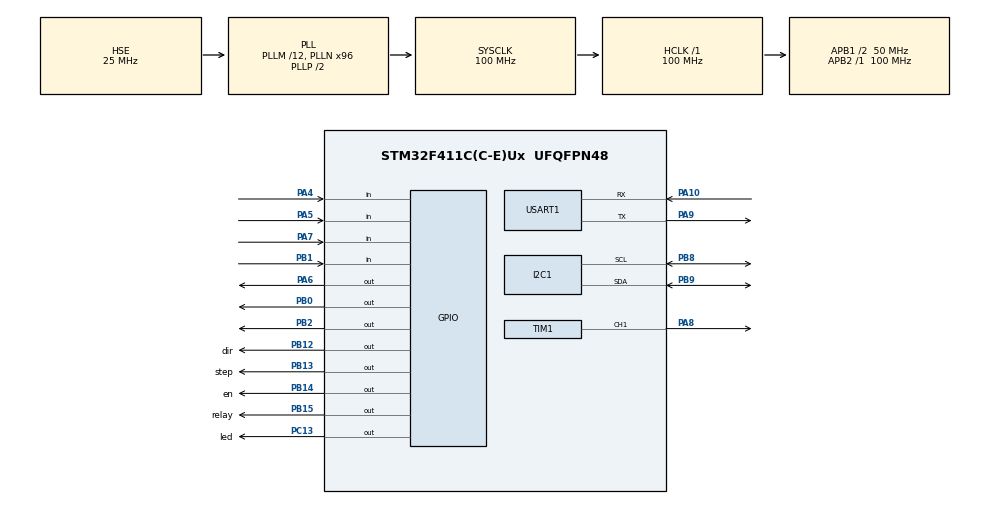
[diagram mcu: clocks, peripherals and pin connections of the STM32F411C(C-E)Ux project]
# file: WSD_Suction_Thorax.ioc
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Dma.Request0=TIM1_CH1
Dma.TIM1_CH1.0.Direction=DMA_MEMORY_TO_PERIPH
Dma.TIM1_CH1.0.FIFOMode=DMA_FIFOMODE_DISABLE
Dma.TIM1_CH1.0.Instance=DMA2_Stream1
Dma.TIM1_CH1.0.MemDataAlignment=DMA_MDATAALIGN_HALFWORD
Dma.TIM1_CH1.0.MemInc=DMA_MINC_ENABLE
Dma.TIM1_CH1.0.Mode=DMA_NORMAL
Dma.TIM1_CH1.0.PeriphDataAlignment=DMA_PDATAALIGN_HALFWORD
Dma.TIM1_CH1.0.PeriphInc=DMA_PINC_DISABLE
Dma.TIM1_CH1.0.Priority=DMA_PRIORITY_LOW
I2C1.I2C_Mode=I2C_Fast
Mcu.Family=STM32F4
Mcu.Name=STM32F411C(C-E)Ux
Mcu.Package=UFQFPN48
NVIC.DMA2_Stream1_IRQn=true\:0\:0\:false\:false\:true\:false\:true\:true
NVIC.PriorityGroup=NVIC_PRIORITYGROUP_4
PA10.Mode=Asynchronous
PA10.Signal=USART1_RX
PA13.Mode=Serial_Wire
PA13.Signal=SYS_JTMS-SWDIO
PA14.Mode=Serial_Wire
PA14.Signal=SYS_JTCK-SWCLK
PA4.GPIO_PuPd=GPIO_PULLUP
PA4.Signal=GPIO_Input
PA5.GPIO_PuPd=GPIO_PULLUP
PA5.Signal=GPIO_Input
PA6.GPIO_PuPd=GPIO_PULLUP
PA6.GPIO_Speed=GPIO_SPEED_FREQ_HIGH
PA6.Signal=GPIO_Output
PA7.GPIO_PuPd=GPIO_PULLUP
PA7.Signal=GPIO_Input
PA8.Signal=S_TIM1_CH1
PA9.Mode=Asynchronous
PA9.Signal=USART1_TX
PB0.GPIO_PuPd=GPIO_PULLUP
PB0.GPIO_Speed=GPIO_SPEED_FREQ_HIGH
PB0.Signal=GPIO_Output
PB1.GPIO_PuPd=GPIO_PULLUP
PB1.Signal=GPIO_Input
PB12.GPIO_Label=dir
PB12.Signal=GPIO_Output
PB13.GPIO_Label=step
PB13.Signal=GPIO_Output
PB14.GPIO_Label=en
PB14.Signal=GPIO_Output
PB15.GPIO_Label=relay
PB15.Signal=GPIO_Output
PB2.GPIO_PuPd=GPIO_PULLUP
PB2.GPIO_Speed=GPIO_SPEED_FREQ_HIGH
PB2.Signal=GPIO_Output
PB8.Mode=I2C
PB8.Signal=I2C1_SCL
PB9.Mode=I2C
PB9.Signal=I2C1_SDA
PC13-ANTI_TAMP.GPIO_Label=led
PC13-ANTI_TAMP.GPIO_ModeDefaultOutputPP=GPIO_MODE_OUTPUT_PP
PC13-ANTI_TAMP.PinState=GPIO_PIN_SET
PC13-ANTI_TAMP.Signal=GPIO_Output
PH0\ -\ OSC_IN.Mode=HSE-External-Oscillator
PH0\ -\ OSC_IN.Signal=RCC_OSC_IN
PH1\ -\ OSC_OUT.Mode=HSE-External-Oscillator
PH1\ -\ OSC_OUT.Signal=RCC_OSC_OUT
ProjectManager.HeapSize=0x200
ProjectManager.StackSize=0x400
ProjectManager.TargetToolchain=STM32CubeIDE
RCC.48MHZClocksFreq_Value=50000000
RCC.AHBFreq_Value=100000000
RCC.APB1CLKDivider=RCC_HCLK_DIV2
RCC.APB1Freq_Value=50000000
RCC.APB1TimFreq_Value=100000000
RCC.APB2Freq_Value=100000000
RCC.APB2TimFreq_Value=100000000
RCC.CortexFreq_Value=100000000
RCC.HCLKFreq_Value=100000000
RCC.HSE_VALUE=25000000
RCC.HSI_VALUE=16000000
RCC.LSE_VALUE=32768
RCC.PLLM=12
RCC.PLLN=96
RCC.PLLSourceVirtual=RCC_PLLSOURCE_HSE
RCC.SYSCLKFreq_VALUE=100000000
RCC.SYSCLKSource=RCC_SYSCLKSOURCE_PLLCLK
RCC.VCOOutputFreq_Value=200000000
SH.S_TIM1_CH1.0=TIM1_CH1,PWM Generation1 CH1
TIM1.Channel-PWM\ Generation1\ CH1=TIM_CHANNEL_1
TIM1.Period=0xffff-1
TIM1.Prescaler=1-1
USART1.VirtualMode=VM_ASYNC
VP_TIM1_VS_ClockSourceINT.Mode=Internal
board=custom

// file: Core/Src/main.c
/* USER CODE BEGIN Header */
/**
  ******************************************************************************
  * @file           : main.c
  * @brief          : Main program body
  ******************************************************************************
  * @attention
  *
  * Copyright (c) 2023 STMicroelectronics.
  * All rights reserved.
  *
  * This software is licensed under terms that can be found in the LICENSE file
  * in the root directory of this software component.
  * If no LICENSE file comes with this software, it is provided AS-IS.
  *
  ******************************************************************************
  */
/* USER CODE END Header */
#include "main.h"

/* USER CODE BEGIN Includes */
#include <String.h>
#include <stdio.h>
#include "ssd1306.h"
#include "ssd1306_tests.h"
/* USER CODE END Includes */

I2C_HandleTypeDef hi2c1;

TIM_HandleTypeDef htim1;
DMA_HandleTypeDef hdma_tim1_ch1;

UART_HandleTypeDef huart1;

/* USER CODE BEGIN PV */
int count;
unsigned char var;
uint16_t readValue;
/* USER CODE END PV */

void SystemClock_Config(void);
static void MX_GPIO_Init(void);
static void MX_DMA_Init(void);
static void MX_I2C1_Init(void);
static void MX_USART1_UART_Init(void);
static void MX_TIM1_Init(void);

/* USER CODE BEGIN 0 */
void delay(uint16_t delay){
	__HAL_TIM_SET_COUNTER(&htim1,0);
	while(__HAL_TIM_GET_COUNTER(&htim1)<delay);
}

unsigned char check_clm(unsigned char pin_var)
{
	unsigned char clm;
	HAL_GPIO_WritePin(GPIOA, GPIO_PIN_6, GPIO_PIN_SET); //GPIO_PIN_SET means that pin setting HIGH/1
	HAL_GPIO_WritePin(GPIOB, GPIO_PIN_0|GPIO_PIN_2, GPIO_PIN_SET); //GPIO_PIN_SET means that pin setting HIGH/1

	HAL_GPIO_WritePin(GPIOB, GPIO_PIN_0, GPIO_PIN_RESET);
	if (HAL_GPIO_ReadPin(GPIOB, pin_var) == 0) clm = 1;

	HAL_GPIO_WritePin(GPIOB, GPIO_PIN_0, GPIO_PIN_SET);
	HAL_GPIO_WritePin(GPIOB, GPIO_PIN_2, GPIO_PIN_RESET);
	if(HAL_GPIO_ReadPin (GPIOB, pin_var) == 0) clm = 2;

	HAL_GPIO_WritePin(GPIOB, GPIO_PIN_2, GPIO_PIN_SET);
	HAL_GPIO_WritePin(GPIOA, GPIO_PIN_6, GPIO_PIN_RESET);
	if(HAL_GPIO_ReadPin(GPIOA, pin_var) == 0) clm = 3;

	HAL_GPIO_WritePin(GPIOA, GPIO_PIN_6, GPIO_PIN_RESET);
	HAL_GPIO_WritePin(GPIOB, GPIO_PIN_0|GPIO_PIN_2, GPIO_PIN_RESET);
	return clm;
}

unsigned char key_press(void) //input row
{
	unsigned char clm_var;
	unsigned char key_arr[13] = {1, 2, 3, 4, 5, 6, 7, 8, 9, 12, 0, 13};

	if (HAL_GPIO_ReadPin(GPIOB, GPIO_PIN_1) == 0)
	{
		clm_var = check_clm(GPIO_PIN_1);
		return key_arr[clm_var - 1];
	}
	else if (HAL_GPIO_ReadPin(GPIOA, GPIO_PIN_4) == 0)
	{
		clm_var = check_clm(GPIO_PIN_4);
		return key_arr[clm_var + 2];
	}
	else if (HAL_GPIO_ReadPin(GPIOA, GPIO_PIN_5) == 0)
	{
		clm_var = check_clm(GPIO_PIN_5);
		return key_arr[clm_var + 5];
	}
	else if (HAL_GPIO_ReadPin(GPIOA, GPIO_PIN_7) == 0)
	{
		clm_var = check_clm(GPIO_PIN_7);
		return key_arr[clm_var + 8];
	}
	else return 15;
}

void cekKeypad(int var1){
	HAL_Delay(100);
	if(var1<15){
		if(var1 == 1){
			ssd1306_Fill(Black);
			ssd1306_SetCursor(2,0);
			ssd1306_WriteString("1", Font_16x24, White);
			ssd1306_UpdateScreen();
		}
		else if(var1 == 2){
			ssd1306_Fill(Black);
			ssd1306_SetCursor(2,0);
			ssd1306_WriteString("2", Font_16x24, White);
			ssd1306_UpdateScreen();
	    }
		else if(var1 == 3){
			ssd1306_Fill(Black);
			ssd1306_SetCursor(2,0);
			ssd1306_WriteString("3", Font_16x24, White);
			ssd1306_UpdateScreen();
	    }
		else if(var1 == 4){
			ssd1306_Fill(Black);
			ssd1306_SetCursor(2,0);
			ssd1306_WriteString("4", Font_16x24, White);
			ssd1306_UpdateScreen();
		}
		else if(var1 == 5){
			ssd1306_Fill(Black);
			ssd1306_SetCursor(2,0);
			ssd1306_WriteString("5", Font_16x24, White);
			ssd1306_UpdateScreen();
		}
		else if(var1 == 6){
			ssd1306_Fill(Black);
			ssd1306_SetCursor(2,0);
			ssd1306_WriteString("6", Font_16x24, White);
			ssd1306_UpdateScreen();
		}
		else if(var1 == 7){
			ssd1306_Fill(Black);
			ssd1306_SetCursor(2,0);
			ssd1306_WriteString("7", Font_16x24, White);
			ssd1306_UpdateScreen();
		}
		else if(var1 == 8){
			ssd1306_Fill(Black);
			ssd1306_SetCursor(2,0);
			ssd1306_WriteString("8", Font_16x24, White);
			ssd1306_UpdateScreen();
		}
		else if(var1 == 9){
			ssd1306_Fill(Black);
			ssd1306_SetCursor(2,0);
			ssd1306_WriteString("9", Font_16x24, White);
			ssd1306_UpdateScreen();
		}
		else if(var1 == 12){
			ssd1306_Fill(Black);
			ssd1306_SetCursor(2,0);
			ssd1306_WriteString("*", Font_16x24, White);
			ssd1306_UpdateScreen();
		}
		else if(var1 == 0){
			ssd1306_Fill(Black);
			ssd1306_SetCursor(2,0);
			ssd1306_WriteString("0", Font_16x24, White);
			ssd1306_UpdateScreen();
		}
		else if(var1 == 13){
			ssd1306_Fill(Black);
			ssd1306_SetCursor(2,0);
			ssd1306_WriteString("#", Font_16x24, White);
			ssd1306_UpdateScreen();
		}
		else{
			HAL_GPIO_WritePin(GPIOC, GPIO_PIN_13, 0);
			ssd1306_SetCursor(2,0);
			ssd1306_Fill(Black);
			ssd1306_UpdateScreen();
		}
	}
}

float mape(float val, float min1, float max1, float min2, float max2){
	return (((max2 - min2) / (max1 - min1)) * (val - min1)) + min2;
}

void gerakStepper(char arah, uint32_t step, uint32_t jeda){
//	uint8_t val = mape(nilai, 0, 20, 0, 30000);
	uint8_t gerak = 0;
	if(arah == 'l') gerak = 0;
	else if(arah == 'r') gerak = 1;
	HAL_GPIO_WritePin(GPIOB, GPIO_PIN_12, gerak);
	for(int i = 0; i < step; i++){
		HAL_GPIO_WritePin(GPIOB, GPIO_PIN_13, 1);
		delay(jeda);
		HAL_GPIO_WritePin(GPIOB, GPIO_PIN_13, 0);
		delay(jeda);
	}
}

const unsigned char wsd_128x64[] = {
		0xff, 0xff, 0xff, 0xff, 0xff, 0xff, 0xff, 0xff, 0xff, 0xff, 0xff, 0xff, 0xff, 0xff, 0xff, 0xff,
		0xff, 0xff, 0xff, 0xff, 0xff, 0xff, 0xff, 0xff, 0xff, 0xff, 0xff, 0xff, 0xff, 0xff, 0xff, 0xff,
		0xff, 0xff, 0xff, 0xff, 0xff, 0xff, 0xff, 0xff, 0xff, 0xff, 0xff, 0xff, 0xff, 0xff, 0xff, 0xff,
		0xff, 0xff, 0xff, 0xff, 0xff, 0xff, 0xff, 0xff, 0xff, 0xff, 0xff, 0xff, 0xff, 0xff, 0xff, 0xff,
		0xff, 0xff, 0xff, 0xff, 0xff, 0xff, 0xff, 0xff, 0xff, 0xff, 0xff, 0xff, 0xff, 0xff, 0xff, 0xff,
		0xff, 0xff, 0xff, 0xff, 0xff, 0xff, 0xff, 0xff, 0xff, 0xff, 0xff, 0xff, 0xff, 0xff, 0xff, 0xff,
		0xff, 0xff, 0xff, 0xff, 0xff, 0xff, 0xff, 0xff, 0xff, 0xff, 0xff, 0xff, 0xff, 0xff, 0xff, 0xff,
		0xff, 0xff, 0xff, 0xff, 0xff, 0xff, 0xff, 0xff, 0xff, 0xff, 0xff, 0xff, 0xff, 0xff, 0xff, 0xff,
		0xff, 0xff, 0xff, 0xff, 0xff, 0xff, 0xff, 0xff, 0xff, 0xff, 0xff, 0xff, 0xff, 0xff, 0xff, 0xff,
		0xff, 0xff, 0xff, 0xff, 0xff, 0xff, 0xff, 0xff, 0xff, 0xff, 0xff, 0xff, 0xff, 0xff, 0xff, 0xff,
		0xff, 0xff, 0xff, 0xff, 0xff, 0xff, 0xff, 0xff, 0xff, 0xff, 0xff, 0xff, 0xff, 0xff, 0xff, 0xff,
		0xff, 0xff, 0xff, 0xff, 0xff, 0xff, 0xff, 0xff, 0xff, 0xff, 0xff, 0xff, 0xff, 0xff, 0xff, 0xff,
		0x00, 0x00, 0x00, 0x00, 0x00, 0x00, 0x00, 0x00, 0x00, 0x00, 0x00, 0x00, 0x00, 0x00, 0x00, 0x00,
		0x00, 0x00, 0x00, 0x00, 0x00, 0x00, 0x00, 0x00, 0x00, 0x00, 0x00, 0x00, 0x00, 0x00, 0x00, 0x00,
		0x00, 0x00, 0x00, 0x00, 0x00, 0x00, 0x00, 0x00, 0x00, 0x00, 0x00, 0x00, 0x00, 0x00, 0x00, 0x00,
		0x00, 0x00, 0x00, 0x00, 0x00, 0x00, 0x00, 0x00, 0x00, 0x00, 0x00, 0x00, 0x00, 0x00, 0x00, 0x00,
		0x00, 0x00, 0x00, 0x00, 0x00, 0x00, 0x00, 0x00, 0x00, 0x00, 0x00, 0x00, 0x00, 0x00, 0x00, 0x00,
		0x00, 0x00, 0x00, 0x00, 0x00, 0x00, 0x00, 0x00, 0x00, 0x00, 0x00, 0x00, 0x00, 0x00, 0x00, 0x00,
		0x00, 0x00, 0x00, 0x00, 0x00, 0x00, 0x00, 0x00, 0x00, 0x00, 0x00, 0x00, 0x00, 0x00, 0x00, 0x00,
		0x00, 0x00, 0x00, 0x00, 0x00, 0x00, 0x00, 0x00, 0x00, 0x00, 0x00, 0x00, 0x00, 0x00, 0x00, 0x00,
		0x00, 0x00, 0x00, 0x00, 0x00, 0x00, 0x00, 0x00, 0x00, 0x00, 0x00, 0x00, 0x00, 0x00, 0x00, 0x00,
		0x00, 0x00, 0x00, 0x00, 0x00, 0x00, 0x00, 0x0c, 0x00, 0x70, 0x00, 0x00, 0x00, 0x00, 0x00, 0x00,
		0x00, 0x38, 0x1c, 0x0e, 0x7f, 0xc6, 0x00, 0x7f, 0x83, 0xfc, 0x0e, 0x00, 0x70, 0xff, 0x80, 0x00,
		0x00, 0x18, 0x1c, 0x0c, 0x7f, 0x86, 0x00, 0xf3, 0x87, 0x9e, 0x0f, 0x00, 0x78, 0xff, 0x80, 0x00,
		0x00, 0x18, 0x1c, 0x0c, 0x60, 0x06, 0x01, 0xc0, 0x8e, 0x07, 0x0f, 0x00, 0xf8, 0xe0, 0x00, 0x00,
		0x00, 0x1c, 0x3e, 0x1c, 0x60, 0x06, 0x01, 0xc0, 0x0c, 0x03, 0x0f, 0x81, 0xf8, 0xe0, 0x00, 0x00,
		0x00, 0x0c, 0x36, 0x18, 0x60, 0x06, 0x03, 0x80, 0x1c, 0x03, 0x8d, 0x81, 0xb8, 0xe0, 0x00, 0x00,
		0x00, 0x0c, 0x36, 0x18, 0x70, 0x06, 0x03, 0x80, 0x1c, 0x03, 0x8d, 0xc1, 0xb8, 0xe0, 0x00, 0x00,
		0x00, 0x0e, 0x77, 0x18, 0x7f, 0x86, 0x03, 0x80, 0x1c, 0x03, 0x8c, 0xc3, 0x38, 0xff, 0x00, 0x00,
		0x00, 0x0e, 0x67, 0x38, 0x7f, 0x86, 0x03, 0x00, 0x1c, 0x03, 0x8c, 0xe3, 0x38, 0xff, 0x00, 0x00,
		0x00, 0x06, 0x63, 0x30, 0x60, 0x06, 0x03, 0x80, 0x1c, 0x03, 0x8c, 0x67, 0x38, 0xe0, 0x00, 0x00,
		0x00, 0x06, 0x63, 0x30, 0x60, 0x06, 0x03, 0x80, 0x1c, 0x03, 0x8c, 0x76, 0x38, 0xe0, 0x00, 0x00,
		0x00, 0x07, 0xe3, 0xf0, 0x60, 0x06, 0x01, 0xc0, 0x1c, 0x03, 0x0c, 0x7e, 0x38, 0xe0, 0x00, 0x00,
		0x00, 0x03, 0xc1, 0xe0, 0x60, 0x06, 0x01, 0xc0, 0x0e, 0x07, 0x0c, 0x3c, 0x38, 0xe0, 0x00, 0x00,
		0x00, 0x03, 0xc1, 0xe0, 0x70, 0x06, 0x00, 0xe1, 0x8f, 0x0e, 0x0c, 0x3c, 0x38, 0xe0, 0x00, 0x00,
		0x00, 0x03, 0xc1, 0xe0, 0x7f, 0xc7, 0xf8, 0x7f, 0x83, 0xfc, 0x0c, 0x18, 0x38, 0xff, 0x80, 0x00,
		0x00, 0x00, 0x00, 0x00, 0x3f, 0x83, 0xf0, 0x1c, 0x00, 0xf0, 0x00, 0x00, 0x00, 0x3f, 0x00, 0x00,
		0x00, 0x00, 0x00, 0x00, 0x00, 0x00, 0x00, 0x00, 0x00, 0x00, 0x00, 0x00, 0x00, 0x00, 0x00, 0x00,
		0x00, 0x1f, 0xff, 0xff, 0xff, 0xff, 0xff, 0xff, 0xff, 0xff, 0xff, 0xff, 0xff, 0xff, 0xe0, 0x00,
		0x00, 0x00, 0x00, 0x00, 0x00, 0x00, 0x00, 0x00, 0x00, 0x00, 0x00, 0x00, 0x00, 0x00, 0x00, 0x00,
		0x00, 0x00, 0x00, 0x00, 0x00, 0x00, 0x00, 0x00, 0x00, 0x00, 0x00, 0x00, 0x00, 0x00, 0x00, 0x00,
		0x00, 0x00, 0x00, 0x00, 0x00, 0x00, 0x00, 0x00, 0x00, 0x00, 0x00, 0x00, 0x00, 0x00, 0x00, 0x00,
		0x00, 0x00, 0x00, 0x00, 0x00, 0x00, 0x00, 0x00, 0x00, 0x00, 0x00, 0x00, 0x00, 0x00, 0x00, 0x00,
		0x00, 0x00, 0x00, 0x00, 0x00, 0x00, 0x00, 0x00, 0x00, 0x00, 0x00, 0x00, 0x00, 0x00, 0x00, 0x00,
		0x00, 0x00, 0x00, 0x00, 0x00, 0x00, 0x00, 0x00, 0x00, 0x00, 0x00, 0x00, 0x00, 0x00, 0x00, 0x00,
		0x00, 0x00, 0x00, 0x00, 0x00, 0x00, 0x00, 0x00, 0x00, 0x00, 0x00, 0x00, 0x00, 0x00, 0x00, 0x00,
		0x00, 0x00, 0x00, 0x00, 0x00, 0x00, 0x00, 0x00, 0x00, 0x00, 0x00, 0x00, 0x00, 0x00, 0x00, 0x00,
		0x00, 0x00, 0x00, 0x00, 0x00, 0x00, 0x00, 0x00, 0x00, 0x00, 0x00, 0x00, 0x00, 0x00, 0x00, 0x00,
		0x00, 0x00, 0x00, 0x00, 0x00, 0x00, 0x00, 0x00, 0x00, 0x00, 0x00, 0x00, 0x00, 0x00, 0x00, 0x00,
		0xff, 0xff, 0xff, 0xff, 0xff, 0xff, 0xff, 0xff, 0xff, 0xff, 0xff, 0xff, 0xff, 0xff, 0xff, 0xff,
		0xff, 0xff, 0xff, 0xff, 0xff, 0xff, 0xff, 0xff, 0xff, 0xff, 0xff, 0xff, 0xff, 0xff, 0xff, 0xff,
		0xff, 0xff, 0xff, 0xff, 0xff, 0xff, 0xff, 0xff, 0xff, 0xff, 0xff, 0xff, 0xff, 0xff, 0xff, 0xff,
		0xff, 0xff, 0xff, 0xff, 0xff, 0xff, 0xff, 0xff, 0xff, 0xff, 0xff, 0xff, 0xff, 0xff, 0xff, 0xff,
		0xff, 0xff, 0xff, 0xff, 0xff, 0xff, 0xff, 0xff, 0xff, 0xff, 0xff, 0xff, 0xff, 0xff, 0xff, 0xff,
		0xff, 0xff, 0xff, 0xff, 0xff, 0xff, 0xff, 0xff, 0xff, 0xff, 0xff, 0xff, 0xff, 0xff, 0xff, 0xff,
		0xff, 0xff, 0xff, 0xff, 0xff, 0xff, 0xff, 0xff, 0xff, 0xff, 0xff, 0xff, 0xff, 0xff, 0xff, 0xff,
		0xff, 0xff, 0xff, 0xff, 0xff, 0xff, 0xff, 0xff, 0xff, 0xff, 0xff, 0xff, 0xff, 0xff, 0xff, 0xff,
		0xff, 0xff, 0xff, 0xff, 0xff, 0xff, 0xff, 0xff, 0xff, 0xff, 0xff, 0xff, 0xff, 0xff, 0xff, 0xff,
		0xff, 0xff, 0xff, 0xff, 0xff, 0xff, 0xff, 0xff, 0xff, 0xff, 0xff, 0xff, 0xff, 0xff, 0xff, 0xff,
		0xff, 0xff, 0xff, 0xff, 0xff, 0xff, 0xff, 0xff, 0xff, 0xff, 0xff, 0xff, 0xff, 0xff, 0xff, 0xff,
		0xff, 0xff, 0xff, 0xff, 0xff, 0xff, 0xff, 0xff, 0xff, 0xff, 0xff, 0xff, 0xff, 0xff, 0xff, 0xff,
		0xff, 0xff, 0xff, 0xff, 0xff, 0xff, 0xff, 0xff, 0xff, 0xff, 0xff, 0xff, 0xff, 0xff, 0xff, 0xff,
		0xff, 0xff, 0xff, 0xff, 0xff, 0xff, 0xff, 0xff, 0xff, 0xff, 0xff, 0xff, 0xff, 0xff, 0xff, 0xff,
		0xff, 0xff, 0xff, 0xff, 0xff, 0xff, 0xff, 0xff, 0xff, 0xff, 0xff, 0xff, 0xff, 0xff, 0xff, 0xff
};
/* USER CODE END 0 */

int main(void)
{

  /* MCU Configuration--------------------------------------------------------*/

  /* Reset of all peripherals, Initializes the Flash interface and the Systick. */
  HAL_Init();

  /* Configure the system clock */
  SystemClock_Config();

  /* USER CODE BEGIN SysInit */
  //its for input pin
  HAL_GPIO_WritePin(GPIOB, GPIO_PIN_1, GPIO_PIN_SET);
  HAL_GPIO_WritePin(GPIOA, GPIO_PIN_7|GPIO_PIN_5|GPIO_PIN_4, GPIO_PIN_SET);
  //its for output pin
  HAL_GPIO_WritePin(GPIOB, GPIO_PIN_2|GPIO_PIN_0, GPIO_PIN_RESET);
  HAL_GPIO_WritePin(GPIOA, GPIO_PIN_6, GPIO_PIN_RESET);
  HAL_GPIO_WritePin(GPIOC, GPIO_PIN_13, GPIO_PIN_RESET);
  /* USER CODE END SysInit */

  /* Initialize all configured peripherals */
  MX_GPIO_Init();
  MX_DMA_Init();
  MX_I2C1_Init();
  MX_USART1_UART_Init();
  MX_TIM1_Init();
  /* USER CODE BEGIN 2 */
  //  int i = 0;
//  char data[15];
  ssd1306_Init();
  TIM1->CCR1=0;
  HAL_TIM_PWM_Start(&htim1, TIM_CHANNEL_1);
  /* USER CODE END 2 */

  /* Infinite loop */
  /* USER CODE BEGIN WHILE */
//  ssd1306_TestDrawBitmap();
  ssd1306_Fill(Black);
  ssd1306_DrawBitmap(0,0,wsd_128x64,128,64,White);
  ssd1306_UpdateScreen();
  HAL_Delay(3000);
  while (1)
  {
//	  strcpy((char*)buf, "hello\r\n");
//	  sprintf(data, "HALO: %d\r\n",i);
//	  HAL_UART_Transmit(&huart1, (uint8_t*)data, sizeof(data), HAL_MAX_DELAY);
//	  HAL_UART_Transmit(&huart1,buf,strlen((char*)buf),HAL_MAX_DELAY);
//	  HAL_GPIO_WritePin(GPIOB, GPIO_PIN_0, 0);
//	  HAL_GPIO_WritePin(GPIOA, GPIO_PIN_6, 1);
//	  state = HAL_GPIO_ReadPin(GPIOB, GPIO_PIN_1);
//	  count++;
//	  HAL_ADC_Start(&hadc1);
//	  HAL_ADC_PollForConversion(&hadc1,1000);
//	  readValue = HAL_ADC_GetValue(&hadc1);
//	  sprintf(data," NILAI: %d\r\n",var);
//	  HAL_UART_Transmit(&huart1, (uint8_t*)data, sizeof(data), HAL_MAX_DELAY);
	  ////////////////////////////////////////////////////////////////////////////////////
	  ssd1306_Fill(White);
	  ssd1306_SetCursor(2, 2);
	  ssd1306_WriteString(buff, Font_11x18, Black);
	  ssd1306_UpdateScreen();
	  var = key_press();
	  cekKeypad(var);////////////////////////////////////
	  if(var == 13){
		  HAL_GPIO_WritePin(GPIOB, GPIO_PIN_15, 1);
	  }
	  else if(var == 9){
//		  HAL_GPIO_WritePin(GPIOB, GPIO_PIN_15, 1);
		  gerakStepper('r',10000,5500); //5000 == 50 uS
	  }
	  else{
		  HAL_GPIO_WritePin(GPIOB, GPIO_PIN_15, 0);
	  }
	  ////////////////////////////////////////////////////////////////////////////////////
    /* USER CODE END WHILE */

  }
}

void SystemClock_Config(void)
{
  RCC_OscInitTypeDef RCC_OscInitStruct = {0};
  RCC_ClkInitTypeDef RCC_ClkInitStruct = {0};

  /** Configure the main internal regulator output voltage
  */
  __HAL_RCC_PWR_CLK_ENABLE();
  __HAL_PWR_VOLTAGESCALING_CONFIG(PWR_REGULATOR_VOLTAGE_SCALE1);

  /** Initializes the RCC Oscillators according to the specified parameters
  * in the RCC_OscInitTypeDef structure.
  */
  RCC_OscInitStruct.OscillatorType = RCC_OSCILLATORTYPE_HSE;
  RCC_OscInitStruct.HSEState = RCC_HSE_ON;
  RCC_OscInitStruct.PLL.PLLState = RCC_PLL_ON;
  RCC_OscInitStruct.PLL.PLLSource = RCC_PLLSOURCE_HSE;
  RCC_OscInitStruct.PLL.PLLM = 12;
  RCC_OscInitStruct.PLL.PLLN = 96;
  RCC_OscInitStruct.PLL.PLLP = RCC_PLLP_DIV2;
  RCC_OscInitStruct.PLL.PLLQ = 4;
  if (HAL_RCC_OscConfig(&RCC_OscInitStruct) != HAL_OK)
  {
    Error_Handler();
  }

  /** Initializes the CPU, AHB and APB buses clocks
  */
  RCC_ClkInitStruct.ClockType = RCC_CLOCKTYPE_HCLK|RCC_CLOCKTYPE_SYSCLK
                              |RCC_CLOCKTYPE_PCLK1|RCC_CLOCKTYPE_PCLK2;
  RCC_ClkInitStruct.SYSCLKSource = RCC_SYSCLKSOURCE_PLLCLK;
  RCC_ClkInitStruct.AHBCLKDivider = RCC_SYSCLK_DIV1;
  RCC_ClkInitStruct.APB1CLKDivider = RCC_HCLK_DIV2;
  RCC_ClkInitStruct.APB2CLKDivider = RCC_HCLK_DIV1;

  if (HAL_RCC_ClockConfig(&RCC_ClkInitStruct, FLASH_LATENCY_3) != HAL_OK)
  {
    Error_Handler();
  }
}

static void MX_I2C1_Init(void)
{

  hi2c1.Instance = I2C1;
  hi2c1.Init.ClockSpeed = 400000;
  hi2c1.Init.DutyCycle = I2C_DUTYCYCLE_2;
  hi2c1.Init.OwnAddress1 = 0;
  hi2c1.Init.AddressingMode = I2C_ADDRESSINGMODE_7BIT;
  hi2c1.Init.DualAddressMode = I2C_DUALADDRESS_DISABLE;
  hi2c1.Init.OwnAddress2 = 0;
  hi2c1.Init.GeneralCallMode = I2C_GENERALCALL_DISABLE;
  hi2c1.Init.NoStretchMode = I2C_NOSTRETCH_DISABLE;
  if (HAL_I2C_Init(&hi2c1) != HAL_OK)
  {
    Error_Handler();
  }

}

static void MX_TIM1_Init(void)
{

  TIM_ClockConfigTypeDef sClockSourceConfig = {0};
  TIM_MasterConfigTypeDef sMasterConfig = {0};
  TIM_OC_InitTypeDef sConfigOC = {0};
  TIM_BreakDeadTimeConfigTypeDef sBreakDeadTimeConfig = {0};

  htim1.Instance = TIM1;
  htim1.Init.Prescaler = 1-1;
  htim1.Init.CounterMode = TIM_COUNTERMODE_UP;
  htim1.Init.Period = 0xffff-1;
  htim1.Init.ClockDivision = TIM_CLOCKDIVISION_DIV1;
  htim1.Init.RepetitionCounter = 0;
  htim1.Init.AutoReloadPreload = TIM_AUTORELOAD_PRELOAD_DISABLE;
  if (HAL_TIM_Base_Init(&htim1) != HAL_OK)
  {
    Error_Handler();
  }
  sClockSourceConfig.ClockSource = TIM_CLOCKSOURCE_INTERNAL;
  if (HAL_TIM_ConfigClockSource(&htim1, &sClockSourceConfig) != HAL_OK)
  {
    Error_Handler();
  }
  if (HAL_TIM_PWM_Init(&htim1) != HAL_OK)
  {
    Error_Handler();
  }
  sMasterConfig.MasterOutputTrigger = TIM_TRGO_RESET;
  sMasterConfig.MasterSlaveMode = TIM_MASTERSLAVEMODE_DISABLE;
  if (HAL_TIMEx_MasterConfigSynchronization(&htim1, &sMasterConfig) != HAL_OK)
  {
    Error_Handler();
  }
  sConfigOC.OCMode = TIM_OCMODE_PWM1;
  sConfigOC.Pulse = 0;
  sConfigOC.OCPolarity = TIM_OCPOLARITY_HIGH;
  sConfigOC.OCNPolarity = TIM_OCNPOLARITY_HIGH;
  sConfigOC.OCFastMode = TIM_OCFAST_DISABLE;
  sConfigOC.OCIdleState = TIM_OCIDLESTATE_RESET;
  sConfigOC.OCNIdleState = TIM_OCNIDLESTATE_RESET;
  if (HAL_TIM_PWM_ConfigChannel(&htim1, &sConfigOC, TIM_CHANNEL_1) != HAL_OK)
  {
    Error_Handler();
  }
  sBreakDeadTimeConfig.OffStateRunMode = TIM_OSSR_DISABLE;
  sBreakDeadTimeConfig.OffStateIDLEMode = TIM_OSSI_DISABLE;
  sBreakDeadTimeConfig.LockLevel = TIM_LOCKLEVEL_OFF;
  sBreakDeadTimeConfig.DeadTime = 0;
  sBreakDeadTimeConfig.BreakState = TIM_BREAK_DISABLE;
  sBreakDeadTimeConfig.BreakPolarity = TIM_BREAKPOLARITY_HIGH;
  sBreakDeadTimeConfig.AutomaticOutput = TIM_AUTOMATICOUTPUT_DISABLE;
  if (HAL_TIMEx_ConfigBreakDeadTime(&htim1, &sBreakDeadTimeConfig) != HAL_OK)
  {
    Error_Handler();
  }
  HAL_TIM_MspPostInit(&htim1);

}

static void MX_USART1_UART_Init(void)
{

  huart1.Instance = USART1;
  huart1.Init.BaudRate = 115200;
  huart1.Init.WordLength = UART_WORDLENGTH_8B;
  huart1.Init.StopBits = UART_STOPBITS_1;
  huart1.Init.Parity = UART_PARITY_NONE;
  huart1.Init.Mode = UART_MODE_TX_RX;
  huart1.Init.HwFlowCtl = UART_HWCONTROL_NONE;
  huart1.Init.OverSampling = UART_OVERSAMPLING_16;
  if (HAL_UART_Init(&huart1) != HAL_OK)
  {
    Error_Handler();
  }

}

static void MX_DMA_Init(void)
{

  /* DMA controller clock enable */
  __HAL_RCC_DMA2_CLK_ENABLE();

  /* DMA interrupt init */
  /* DMA2_Stream1_IRQn interrupt configuration */
  HAL_NVIC_SetPriority(DMA2_Stream1_IRQn, 0, 0);
  HAL_NVIC_EnableIRQ(DMA2_Stream1_IRQn);

}

static void MX_GPIO_Init(void)
{
  GPIO_InitTypeDef GPIO_InitStruct = {0};

  /* GPIO Ports Clock Enable */
  __HAL_RCC_GPIOC_CLK_ENABLE();
  __HAL_RCC_GPIOH_CLK_ENABLE();
  __HAL_RCC_GPIOA_CLK_ENABLE();
  __HAL_RCC_GPIOB_CLK_ENABLE();

  /*Configure GPIO pin Output Level */
  HAL_GPIO_WritePin(led_GPIO_Port, led_Pin, GPIO_PIN_SET);

  /*Configure GPIO pin Output Level */
  HAL_GPIO_WritePin(GPIOA, GPIO_PIN_6, GPIO_PIN_RESET);

  /*Configure GPIO pin Output Level */
  HAL_GPIO_WritePin(GPIOB, GPIO_PIN_0|GPIO_PIN_2|dir_Pin|step_Pin
                          |en_Pin|relay_Pin, GPIO_PIN_RESET);

  /*Configure GPIO pin : led_Pin */
  GPIO_InitStruct.Pin = led_Pin;
  GPIO_InitStruct.Mode = GPIO_MODE_OUTPUT_PP;
  GPIO_InitStruct.Pull = GPIO_NOPULL;
  GPIO_InitStruct.Speed = GPIO_SPEED_FREQ_LOW;
  HAL_GPIO_Init(led_GPIO_Port, &GPIO_InitStruct);

  /*Configure GPIO pins : PA4 PA5 PA7 */
  GPIO_InitStruct.Pin = GPIO_PIN_4|GPIO_PIN_5|GPIO_PIN_7;
  GPIO_InitStruct.Mode = GPIO_MODE_INPUT;
  GPIO_InitStruct.Pull = GPIO_PULLUP;
  HAL_GPIO_Init(GPIOA, &GPIO_InitStruct);

  /*Configure GPIO pin : PA6 */
  GPIO_InitStruct.Pin = GPIO_PIN_6;
  GPIO_InitStruct.Mode = GPIO_MODE_OUTPUT_PP;
  GPIO_InitStruct.Pull = GPIO_PULLUP;
  GPIO_InitStruct.Speed = GPIO_SPEED_FREQ_HIGH;
  HAL_GPIO_Init(GPIOA, &GPIO_InitStruct);

  /*Configure GPIO pins : PB0 PB2 */
  GPIO_InitStruct.Pin = GPIO_PIN_0|GPIO_PIN_2;
  GPIO_InitStruct.Mode = GPIO_MODE_OUTPUT_PP;
  GPIO_InitStruct.Pull = GPIO_PULLUP;
  GPIO_InitStruct.Speed = GPIO_SPEED_FREQ_HIGH;
  HAL_GPIO_Init(GPIOB, &GPIO_InitStruct);

  /*Configure GPIO pin : PB1 */
  GPIO_InitStruct.Pin = GPIO_PIN_1;
  GPIO_InitStruct.Mode = GPIO_MODE_INPUT;
  GPIO_InitStruct.Pull = GPIO_PULLUP;
  HAL_GPIO_Init(GPIOB, &GPIO_InitStruct);

  /*Configure GPIO pins : dir_Pin step_Pin en_Pin relay_Pin */
  GPIO_InitStruct.Pin = dir_Pin|step_Pin|en_Pin|relay_Pin;
  GPIO_InitStruct.Mode = GPIO_MODE_OUTPUT_PP;
  GPIO_InitStruct.Pull = GPIO_NOPULL;
  GPIO_InitStruct.Speed = GPIO_SPEED_FREQ_LOW;
  HAL_GPIO_Init(GPIOB, &GPIO_InitStruct);

}

void Error_Handler(void)
{
  __disable_irq();
  while (1)
  {
  }
}
